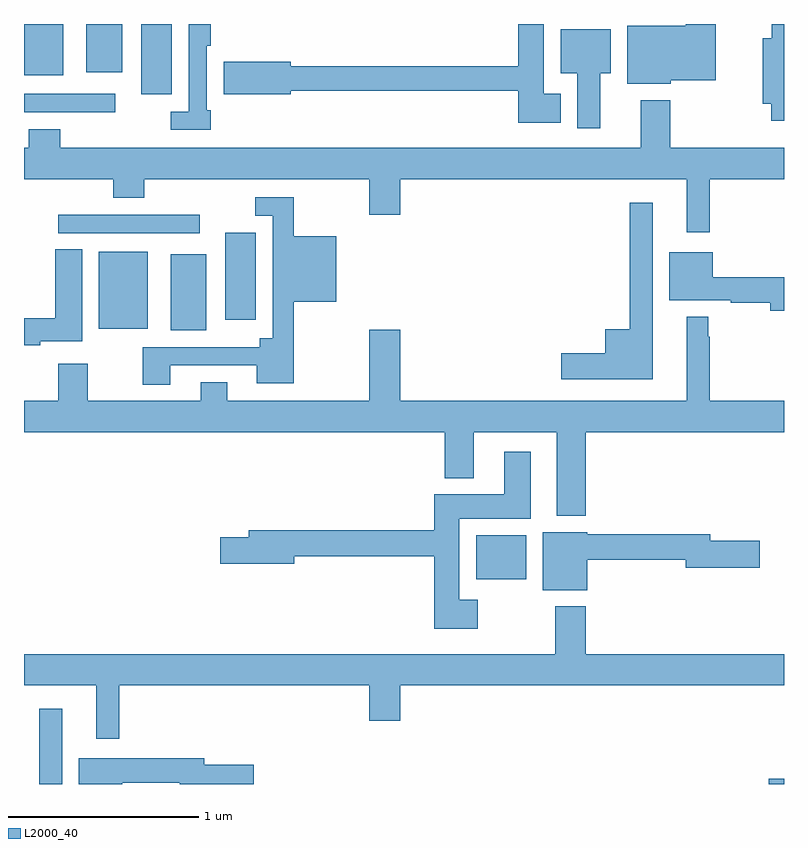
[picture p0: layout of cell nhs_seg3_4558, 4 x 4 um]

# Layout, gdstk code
import gdstk
lib = gdstk.Library(unit=1e-6, precision=1e-09)
def R(c, l, rs):  # rectangles x0, y0, x1, y1
    for r in rs: c.add(gdstk.rectangle(r[:2], r[2:], *l))
def P(c, l, *ps):  # polygons
    for p in ps: c.add(gdstk.Polygon(p, *l))
L2000_40 = (2000, 40)

nhs_seg3_4558 = lib.new_cell('nhs_seg3_4558')
R(nhs_seg3_4558, L2000_40, [(355.08,696.4,355.201,696.796), (358.92,696.4,359,696.428), (357.38,697.478,357.643,697.708), (355.772,698.789,355.96,699.187), (355.394,698.795,355.651,699.202), (356.06,698.844,356.221,699.301), (355.179,699.3,355.924,699.396), (355,699.936,355.48,700.032), (355.616,700.031,355.777,700.4), (355,700.13,355.207,700.4), (355.328,700.145,355.516,700.4)])
P(nhs_seg3_4558, L2000_40, [(358.404,700.103),(358.642,700.103),(358.642,700.4),(358.484,700.4),(358.484,700.39),(358.175,700.39),(358.175,700.085),(358.404,700.085)],
  [(357.826,700.033),(357.736,700.033),(357.736,700.4),(357.602,700.4),(357.602,700.178),(356.404,700.178),(356.404,700.202),(356.052,700.202),(356.052,700.031),(356.404,700.031),(356.404,700.05),(357.602,700.05),(357.602,699.881),(357.826,699.881)],
  [(355.982,699.946),(355.962,699.946),(355.962,700.285),(355.982,700.285),(355.982,700.4),(355.866,700.4),(355.866,699.939),(355.773,699.939),(355.773,699.843),(355.982,699.843)],
  [(359,700.4),(358.936,700.4),(358.936,700.324),(358.889,700.324),(358.889,699.98),(358.934,699.98),(358.934,699.891),(359,699.891)],
  [(358.033,700.142),(358.087,700.142),(358.087,700.372),(357.824,700.372),(357.824,700.142),(357.911,700.142),(357.911,699.852),(358.033,699.852)],
  [(358.609,699.584),(359,699.584),(359,699.748),(358.4,699.748),(358.4,700),(358.247,700),(358.247,699.748),(355.19,699.748),(355.19,699.847),(355.025,699.847),(355.025,699.748),(355,699.748),(355,699.584),(355.469,699.584),(355.469,699.485),(355.634,699.485),(355.634,699.584),(356.816,699.584),(356.816,699.396),(356.98,699.396),(356.98,699.584),(358.487,699.584),(358.487,699.303),(358.609,699.303)],
  [(355.771,698.604),(356.225,698.604),(356.225,698.51),(356.419,698.51),(356.419,698.939),(356.644,698.939),(356.644,699.283),(356.419,699.283),(356.419,699.489),(356.217,699.489),(356.217,699.392),(356.309,699.392),(356.309,699.043),(356.31,699.043),(356.31,698.746),(356.24,698.746),(356.24,698.7),(355.624,698.7),(355.624,698.502),(355.771,698.502)],
  [(358.309,699.46),(358.188,699.46),(358.188,698.794),(358.058,698.794),(358.058,698.666),(357.828,698.666),(357.828,698.531),(358.309,698.531)],
  [(355.086,698.729),(355.306,698.729),(355.306,699.215),(355.165,699.215),(355.165,698.852),(355,698.852),(355,698.71),(355.086,698.71)],
  [(359,699.068),(358.624,699.068),(358.624,699.199),(358.397,699.199),(358.397,698.945),(358.72,698.945),(358.72,698.932),(358.928,698.932),(358.928,698.89),(359,698.89)],
  [(357.956,698.252),(359,698.252),(359,698.416),(358.609,698.416),(358.609,698.753),(358.602,698.753),(358.602,698.86),(358.487,698.86),(358.487,698.416),(356.98,698.416),(356.98,698.791),(356.816,698.791),(356.816,698.416),(356.071,698.416),(356.071,698.515),(355.931,698.515),(355.931,698.416),(355.335,698.416),(355.335,698.611),(355.18,698.611),(355.18,698.416),(355,698.416),(355,698.252),(357.215,698.252),(357.215,698.009),(357.367,698.009),(357.367,698.252),(357.803,698.252),(357.803,697.811),(357.956,697.811)],
  [(357.388,697.369),(357.292,697.369),(357.292,697.796),(357.667,697.796),(357.667,698.149),(357.527,698.149),(357.527,697.924),(357.158,697.924),(357.158,697.736),(356.183,697.736),(356.183,697.7),(356.034,697.7),(356.034,697.558),(356.422,697.558),(356.422,697.6),(357.158,697.6),(357.158,697.217),(357.388,697.217)],
  [(357.964,697.579),(358.484,697.579),(358.484,697.537),(358.873,697.537),(358.873,697.679),(358.612,697.679),(358.612,697.715),(357.964,697.715),(357.964,697.726),(357.731,697.726),(357.731,697.421),(357.964,697.421)],
  [(355.501,696.92),(356.816,696.92),(356.816,696.732),(356.98,696.732),(356.98,696.92),(359,696.92),(359,697.084),(357.956,697.084),(357.956,697.336),(357.796,697.336),(357.796,697.084),(355,697.084),(355,696.92),(355.379,696.92),(355.379,696.639),(355.501,696.639)],
  [(355.516,696.406),(355.82,696.406),(355.82,696.4),(356.209,696.4),(356.209,696.501),(355.948,696.501),(355.948,696.535),(355.289,696.535),(355.289,696.4),(355.516,696.4)])

lib.write_gds('nhs_seg3_4558.gds')
